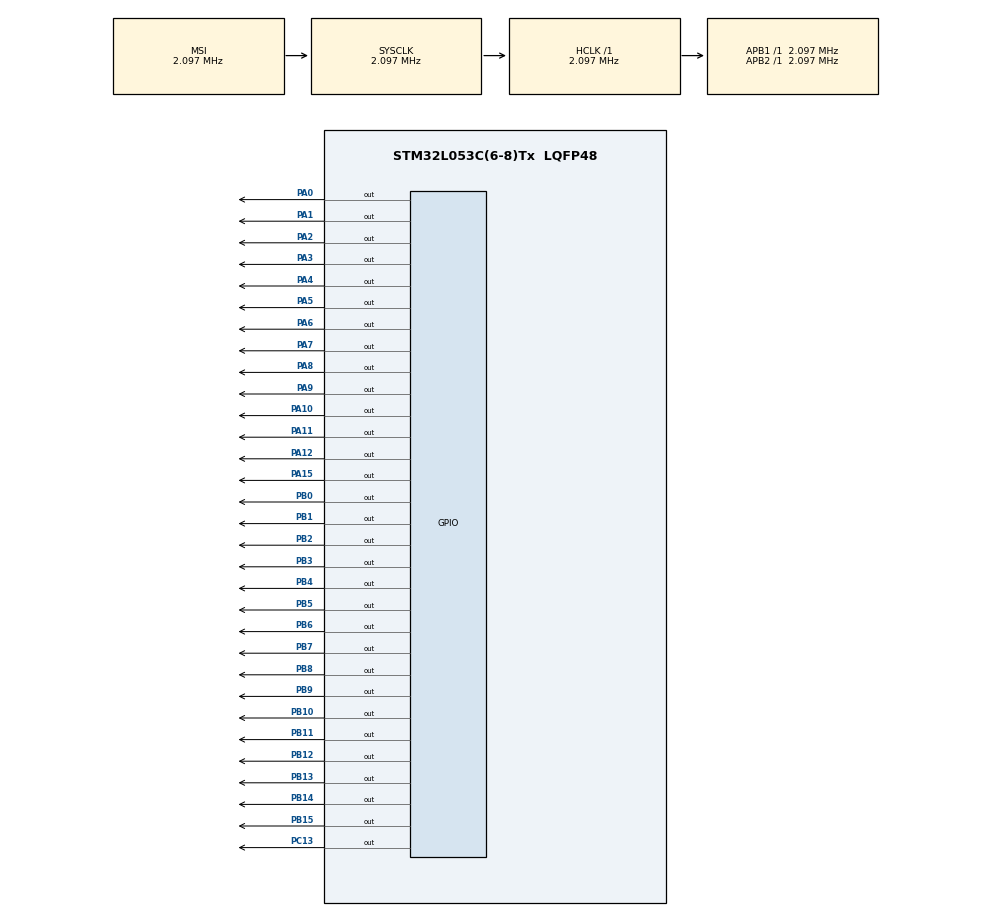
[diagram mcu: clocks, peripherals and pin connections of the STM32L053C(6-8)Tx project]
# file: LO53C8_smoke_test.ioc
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Mcu.Family=STM32L0
Mcu.Name=STM32L053C(6-8)Tx
Mcu.Package=LQFP48
PA0.Signal=GPIO_Output
PA1.Signal=GPIO_Output
PA10.Signal=GPIO_Output
PA11.Signal=GPIO_Output
PA12.Signal=GPIO_Output
PA13.Mode=Serial_Wire
PA13.Signal=SYS_SWDIO
PA14.Mode=Serial_Wire
PA14.Signal=SYS_SWCLK
PA15.Signal=GPIO_Output
PA2.Signal=GPIO_Output
PA3.Signal=GPIO_Output
PA4.Signal=GPIO_Output
PA5.Signal=GPIO_Output
PA6.Signal=GPIO_Output
PA7.Signal=GPIO_Output
PA8.Signal=GPIO_Output
PA9.Signal=GPIO_Output
PB0.Signal=GPIO_Output
PB1.Signal=GPIO_Output
PB10.Signal=GPIO_Output
PB11.Signal=GPIO_Output
PB12.Signal=GPIO_Output
PB13.Signal=GPIO_Output
PB14.Signal=GPIO_Output
PB15.Signal=GPIO_Output
PB2.Signal=GPIO_Output
PB3.Signal=GPIO_Output
PB4.Signal=GPIO_Output
PB5.Signal=GPIO_Output
PB6.Signal=GPIO_Output
PB7.Signal=GPIO_Output
PB8.Signal=GPIO_Output
PB9.Signal=GPIO_Output
PC13.Signal=GPIO_Output
ProjectManager.HeapSize=0x200
ProjectManager.StackSize=0x400
ProjectManager.TargetToolchain=SW4STM32
RCC.AHBFreq_Value=2097000
RCC.APB1Freq_Value=2097000
RCC.APB1TimFreq_Value=2097000
RCC.APB2Freq_Value=2097000
RCC.APB2TimFreq_Value=2097000
RCC.HSE_VALUE=8000000
RCC.HSI16_VALUE=16000000
RCC.HSI48_VALUE=48000000
RCC.HSI_VALUE=16000000
RCC.LSE_VALUE=32768
RCC.MSI_VALUE=2097000
RCC.SYSCLKFreq_VALUE=2097000
RCC.VCOOutputFreq_Value=48000000
board=LO53C8_smoke_test

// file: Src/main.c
/**
 ******************************************************************************
 * File Name          : main.c
 * Description        : Main program body
 ******************************************************************************
 *
 * COPYRIGHT(c) 2016 STMicroelectronics
 *
 * Redistribution and use in source and binary forms, with or without modification,
 * are permitted provided that the following conditions are met:
 *   1. Redistributions of source code must retain the above copyright notice,
 *      this list of conditions and the following disclaimer.
 *   2. Redistributions in binary form must reproduce the above copyright notice,
 *      this list of conditions and the following disclaimer in the documentation
 *      and/or other materials provided with the distribution.
 *   3. Neither the name of STMicroelectronics nor the names of its contributors
 *      may be used to endorse or promote products derived from this software
 *      without specific prior written permission.
 *
 * THIS SOFTWARE IS PROVIDED BY THE COPYRIGHT HOLDERS AND CONTRIBUTORS "AS IS"
 * AND ANY EXPRESS OR IMPLIED WARRANTIES, INCLUDING, BUT NOT LIMITED TO, THE
 * IMPLIED WARRANTIES OF MERCHANTABILITY AND FITNESS FOR A PARTICULAR PURPOSE ARE
 * DISCLAIMED. IN NO EVENT SHALL THE COPYRIGHT HOLDER OR CONTRIBUTORS BE LIABLE
 * FOR ANY DIRECT, INDIRECT, INCIDENTAL, SPECIAL, EXEMPLARY, OR CONSEQUENTIAL
 * DAMAGES (INCLUDING, BUT NOT LIMITED TO, PROCUREMENT OF SUBSTITUTE GOODS OR
 * SERVICES; LOSS OF USE, DATA, OR PROFITS; OR BUSINESS INTERRUPTION) HOWEVER
 * CAUSED AND ON ANY THEORY OF LIABILITY, WHETHER IN CONTRACT, STRICT LIABILITY,
 * OR TORT (INCLUDING NEGLIGENCE OR OTHERWISE) ARISING IN ANY WAY OUT OF THE USE
 * OF THIS SOFTWARE, EVEN IF ADVISED OF THE POSSIBILITY OF SUCH DAMAGE.
 *
 ******************************************************************************
 */
#include "main.h"
#include "stm32l0xx_hal.h"
#include "gpio.h"

/* USER CODE BEGIN PV */
/* Private variables ---------------------------------------------------------*/

/* USER CODE END PV */

void SystemClock_Config(void);
void Error_Handler(void);

/* USER CODE BEGIN PFP */
/* Private function prototypes -----------------------------------------------*/

/* USER CODE END PFP */

int main(void) {

    /* MCU Configuration----------------------------------------------------------*/

    /* Reset of all peripherals, Initializes the Flash interface and the Systick. */
    HAL_Init();

    /* Configure the system clock */
    SystemClock_Config();

    /* Initialize all configured peripherals */
    MX_GPIO_Init();

    /* USER CODE BEGIN 2 */
    HAL_Init();

    // Board led on
    //HAL_GPIO_WritePin(GPIOA,GPIO_PIN_5, GPIO_PIN_SET);

    /* USER CODE END 2 */

    /* Infinite loop */
    while (1) {

        /* USER CODE BEGIN 3 */

        /* PORT A ON (not PA5 as that is the onboard LED nor 13 & 14) */
        HAL_GPIO_WritePin(GPIOA,
                GPIO_PIN_0 | GPIO_PIN_1 | GPIO_PIN_2 | GPIO_PIN_3 | GPIO_PIN_4
                        | GPIO_PIN_5 | GPIO_PIN_6 | GPIO_PIN_7 | GPIO_PIN_8
                        | GPIO_PIN_9 | GPIO_PIN_10 | GPIO_PIN_11 | GPIO_PIN_12
                        | GPIO_PIN_15, GPIO_PIN_SET);

        /* PORT B OFF */
        HAL_GPIO_WritePin(GPIOB,
                GPIO_PIN_0 | GPIO_PIN_1 | GPIO_PIN_2 | GPIO_PIN_10 | GPIO_PIN_11
                        | GPIO_PIN_12 | GPIO_PIN_13 | GPIO_PIN_14 | GPIO_PIN_15
                        | GPIO_PIN_3 | GPIO_PIN_4 | GPIO_PIN_5 | GPIO_PIN_6
                        | GPIO_PIN_7 | GPIO_PIN_8 | GPIO_PIN_9, GPIO_PIN_RESET);

        /* Board led on */
        HAL_GPIO_WritePin(GPIOA, GPIO_PIN_5, GPIO_PIN_SET);
        HAL_Delay(500);

        /* PORT A OFF */
        HAL_GPIO_WritePin(GPIOA,
                GPIO_PIN_0 | GPIO_PIN_1 | GPIO_PIN_2 | GPIO_PIN_3 | GPIO_PIN_4
                        | GPIO_PIN_5 | GPIO_PIN_6 | GPIO_PIN_7 | GPIO_PIN_8
                        | GPIO_PIN_9 | GPIO_PIN_10 | GPIO_PIN_11 | GPIO_PIN_12
                        | GPIO_PIN_15, GPIO_PIN_RESET);

        /* PORT B ON */
        HAL_GPIO_WritePin(GPIOB,
                GPIO_PIN_0 | GPIO_PIN_1 | GPIO_PIN_2 | GPIO_PIN_10 | GPIO_PIN_11
                        | GPIO_PIN_12 | GPIO_PIN_13 | GPIO_PIN_14 | GPIO_PIN_15
                        | GPIO_PIN_3 | GPIO_PIN_4 | GPIO_PIN_5 | GPIO_PIN_6
                        | GPIO_PIN_7 | GPIO_PIN_8 | GPIO_PIN_9, GPIO_PIN_SET);

        //HAL_GPIO_TogglePin(GPIOA, GPIO_PIN_5);
        /* Board led off */
        HAL_GPIO_WritePin(GPIOA, GPIO_PIN_5, GPIO_PIN_RESET);
        HAL_Delay(500);

    }
    /* USER CODE END 3 */

}

/** System Clock Configuration
 */
void SystemClock_Config(void) {

    RCC_OscInitTypeDef RCC_OscInitStruct;
    RCC_ClkInitTypeDef RCC_ClkInitStruct;

    /**Configure the main internal regulator output voltage
     */
    __HAL_PWR_VOLTAGESCALING_CONFIG(PWR_REGULATOR_VOLTAGE_SCALE1);

    /**Initializes the CPU, AHB and APB busses clocks
     */
    RCC_OscInitStruct.OscillatorType = RCC_OSCILLATORTYPE_MSI;
    RCC_OscInitStruct.MSIState = RCC_MSI_ON;
    RCC_OscInitStruct.MSICalibrationValue = 0;
    RCC_OscInitStruct.MSIClockRange = RCC_MSIRANGE_5;
    RCC_OscInitStruct.PLL.PLLState = RCC_PLL_NONE;
    if (HAL_RCC_OscConfig(&RCC_OscInitStruct) != HAL_OK) {
        Error_Handler();
    }

    /**Initializes the CPU, AHB and APB busses clocks
     */
    RCC_ClkInitStruct.ClockType = RCC_CLOCKTYPE_HCLK | RCC_CLOCKTYPE_SYSCLK
            | RCC_CLOCKTYPE_PCLK1 | RCC_CLOCKTYPE_PCLK2;
    RCC_ClkInitStruct.SYSCLKSource = RCC_SYSCLKSOURCE_MSI;
    RCC_ClkInitStruct.AHBCLKDivider = RCC_SYSCLK_DIV1;
    RCC_ClkInitStruct.APB1CLKDivider = RCC_HCLK_DIV1;
    RCC_ClkInitStruct.APB2CLKDivider = RCC_HCLK_DIV1;

    if (HAL_RCC_ClockConfig(&RCC_ClkInitStruct, FLASH_LATENCY_0) != HAL_OK) {
        Error_Handler();
    }

    /**Configure the Systick interrupt time
     */
    HAL_SYSTICK_Config(HAL_RCC_GetHCLKFreq() / 1000);

    /**Configure the Systick
     */
    HAL_SYSTICK_CLKSourceConfig(SYSTICK_CLKSOURCE_HCLK);

    /* SysTick_IRQn interrupt configuration */
    HAL_NVIC_SetPriority(SysTick_IRQn, 0, 0);
}

void Error_Handler(void) {
    while (1) {
    }
}

/************************ (C) COPYRIGHT STMicroelectronics *****END OF FILE****/
